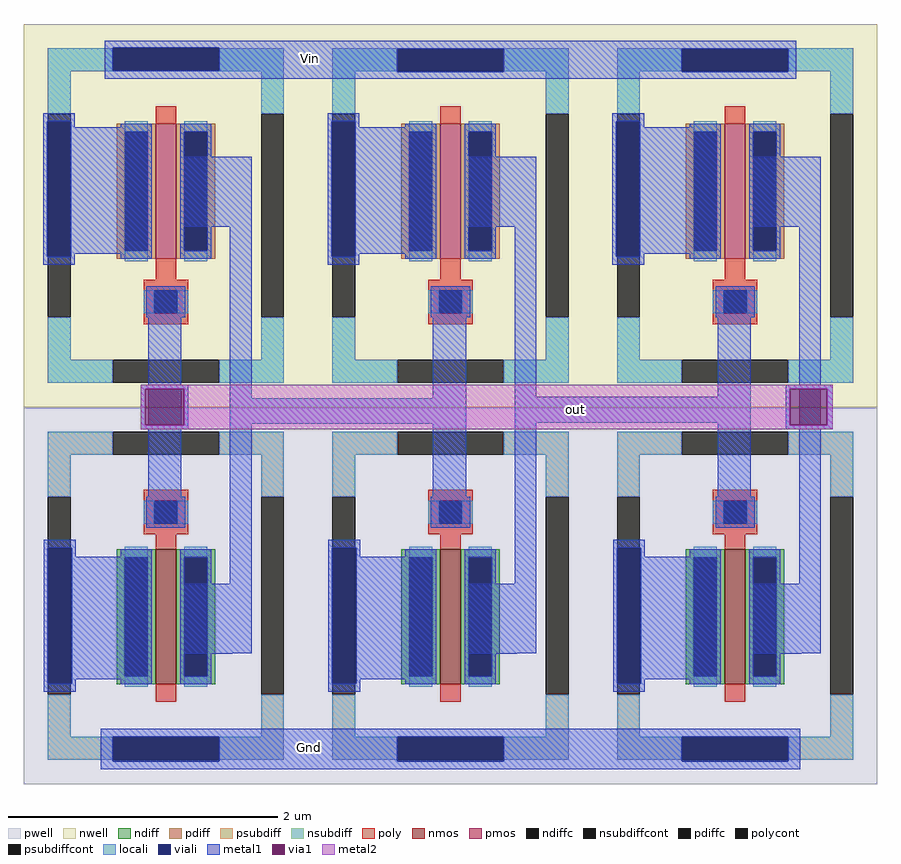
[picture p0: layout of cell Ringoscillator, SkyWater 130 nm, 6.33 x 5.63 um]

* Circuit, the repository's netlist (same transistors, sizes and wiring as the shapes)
** sch_path: /root/latihan/inverter/Ringoscillator.sch
.subckt Ringoscillator out Vin Gnd
*.PININFO out:O Vin:I Gnd:I
x1 Vin out net1 Gnd inverter
x2 Vin net1 net2 Gnd inverter
x3 Vin net2 out Gnd inverter
.ends

* expanding   symbol:  inverter.sym # of pins=4
** sym_path: /root/latihan/inverter/inverter.sym
** sch_path: /root/latihan/inverter/inverter.sch
.subckt inverter Vin in out Gnd
*.PININFO in:I Vin:I Gnd:I out:O
XM1 out in Gnd Gnd sky130_fd_pr__nfet_01v8 L=0.15 W=1 nf=1 m=1
XM2 out in Vin Vin sky130_fd_pr__pfet_01v8 L=0.15 W=1 nf=1 m=1
.ends

.end

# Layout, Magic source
magic
tech sky130A
magscale 1 2
<< viali >>
rect 132 1058 290 1092
rect 554 1056 712 1090
rect 976 1056 1134 1090
rect 132 34 290 70
rect 554 34 712 70
rect 976 34 1134 70
<< metal1 >>
rect 120 1092 1146 1102
rect 120 1058 132 1092
rect 290 1090 1146 1092
rect 290 1058 554 1090
rect 120 1056 554 1058
rect 712 1056 976 1090
rect 1134 1056 1146 1090
rect 120 1046 1146 1056
rect 174 586 244 592
rect 174 532 180 586
rect 238 532 244 586
rect 1130 586 1200 592
rect 306 534 656 572
rect 728 536 1078 574
rect 174 526 244 532
rect 1130 532 1136 586
rect 1192 532 1200 586
rect 1130 526 1200 532
rect 114 70 1152 82
rect 114 34 132 70
rect 290 34 554 70
rect 712 34 976 70
rect 1134 34 1152 70
rect 114 22 1152 34
<< via1 >>
rect 180 532 238 586
rect 1136 532 1192 586
<< metal2 >>
rect 174 586 1200 592
rect 174 532 180 586
rect 238 532 1136 586
rect 1192 532 1200 586
rect 174 526 1200 532
use inverter  x1
transform 1 0 53 0 1 53
box -53 -53 369 1074
use inverter  x2
transform 1 0 475 0 1 53
box -53 -53 369 1074
use inverter  x3
transform 1 0 897 0 1 53
box -53 -53 369 1074
<< labels >>
flabel metal1 426 1076 426 1076 0 FreeSans 160 0 0 0 Vin
port 2 nsew
flabel metal1 424 54 424 54 0 FreeSans 160 0 0 0 Gnd
port 3 nsew
flabel metal2 s 818 556 818 556 0 FreeSans 160 0 0 0 out
port 4 nsew
<< end >>

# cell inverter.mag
magic
tech sky130A
magscale 1 2
<< viali >>
rect -18 729 17 930
rect -17 96 18 297
<< metal1 >>
rect -24 930 23 942
rect -24 729 -18 930
rect 17 921 23 930
rect 17 733 135 921
rect 185 773 285 877
rect 17 729 23 733
rect -24 717 23 729
rect 132 330 181 682
rect -23 297 24 309
rect -23 96 -17 297
rect 18 284 24 297
rect 18 102 133 284
rect 253 244 285 773
rect 184 141 285 244
rect 184 140 256 141
rect 18 96 24 102
rect -23 84 24 96
use sky130_fd_pr__nfet_01v8_64Z3AY  XM1
transform 1 0 158 0 1 226
box -211 -279 211 279
use sky130_fd_pr__pfet_01v8_LGS3BL  XM2
transform 1 0 158 0 1 790
box -211 -284 211 284
<< labels >>
flabel metal1 52 823 52 823 0 FreeSans 160 0 0 0 Vin
port 2 nsew
flabel metal1 152 501 152 501 0 FreeSans 160 0 0 0 in
port 3 nsew
flabel metal1 271 499 271 499 0 FreeSans 160 0 0 0 out
port 4 nsew
flabel metal1 52 176 52 176 0 FreeSans 160 0 0 0 Gnd
port 5 nsew
<< end >>

# cell sky130_fd_pr__nfet_01v8_64Z3AY: kit device sky130_fd_pr__nfet_01v8, w 1.0 l 0.15 m 1 nf 1 diffcov 100 polycov 100 guard 1 glc 1 grc 1 gtc 1 gbc 1 tbcov 100 rlcov 100 topc 1 botc 0 poverlap 0 doverlap 1 lmin 0.15 wmin 0.42 compatible {sky130_fd_pr__nfet_01v8 sky130_fd_pr__nfet_01v8_lvt sky130_fd_bs_flash__special_sonosfet_star sky130_fd_pr__nfet_g5v0d10v5 sky130_fd_pr__nfet_05v0_nvt sky130_fd_pr__nfet_03v3_nvt} full_metal 1 viasrc 100 viadrn 100 viagate 100 viagb 0 viagr 0 viagl 0 viagt 0

# cell sky130_fd_pr__pfet_01v8_LGS3BL: kit device sky130_fd_pr__pfet_01v8, w 1.0 l 0.15 m 1 nf 1 diffcov 100 polycov 100 guard 1 glc 1 grc 1 gtc 1 gbc 1 tbcov 100 rlcov 100 topc 0 botc 1 poverlap 0 doverlap 1 lmin 0.15 wmin 0.42 compatible {sky130_fd_pr__pfet_01v8 sky130_fd_pr__pfet_01v8_lvt sky130_fd_pr__pfet_01v8_hvt sky130_fd_pr__pfet_g5v0d10v5} full_metal 1 viasrc 100 viadrn 100 viagate 100 viagb 0 viagr 0 viagl 0 viagt 0
